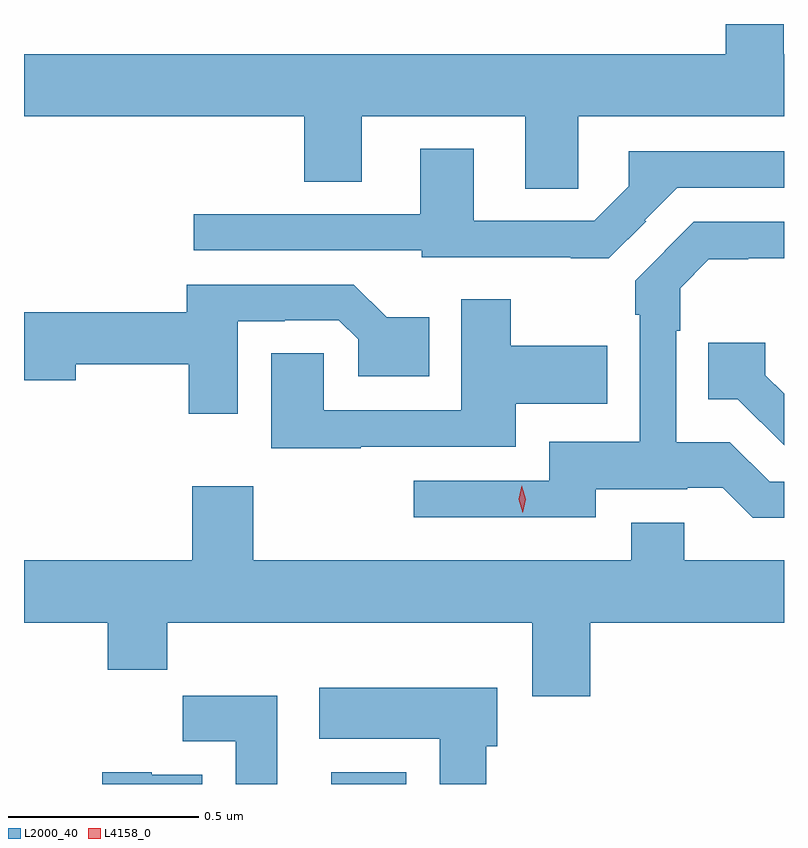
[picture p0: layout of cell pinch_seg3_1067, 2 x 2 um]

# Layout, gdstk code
import gdstk
lib = gdstk.Library(unit=1e-6, precision=1e-09)
def R(c, l, rs):  # rectangles x0, y0, x1, y1
    for r in rs: c.add(gdstk.rectangle(r[:2], r[2:], *l))
def P(c, l, *ps):  # polygons
    for p in ps: c.add(gdstk.Polygon(p, *l))
L2000_40 = (2000, 40)
L4158_0 = (4158, 0)

pinch_seg3_1067 = lib.new_cell('pinch_seg3_1067')
R(pinch_seg3_1067, L2000_40, [(316.247,744.447,316.444,744.478)])
P(pinch_seg3_1067, L2000_40, [(316.896,746.204),(317.438,746.204),(317.438,746.368),(317.437,746.368),(317.437,746.447),(317.285,746.447),(317.285,746.368),(315.438,746.368),(315.438,746.204),(316.175,746.204),(316.175,746.032),(316.327,746.032),(316.327,746.204),(316.757,746.204),(316.757,746.014),(316.896,746.014)],
  [(317.075,745.928),(317.072,745.931),(317.157,746.016),(317.438,746.016),(317.438,746.112),(317.029,746.112),(317.029,746.02),(316.938,745.929),(316.621,745.929),(316.621,746.119),(316.481,746.119),(316.481,745.947),(315.885,745.947),(315.885,745.851),(316.485,745.851),(316.485,745.833),(316.877,745.833),(316.877,745.831),(316.977,745.831)],
  [(317.438,745.242),(317.4,745.242),(317.295,745.347),(317.154,745.347),(317.154,745.64),(317.165,745.64),(317.165,745.752),(317.24,745.828),(317.344,745.828),(317.344,745.83),(317.438,745.83),(317.438,745.926),(317.201,745.926),(317.046,745.771),(317.046,745.682),(317.058,745.682),(317.058,745.348),(316.82,745.348),(316.82,745.245),(316.464,745.245),(316.464,745.149),(316.942,745.149),(316.942,745.223),(317.183,745.223),(317.183,745.227),(317.277,745.227),(317.356,745.148),(317.438,745.148)],
  [(316,745.665),(316.124,745.665),(316.124,745.668),(316.266,745.668),(316.317,745.617),(316.317,745.52),(316.504,745.52),(316.504,745.675),(316.392,745.675),(316.306,745.761),(315.866,745.761),(315.866,745.688),(315.438,745.688),(315.438,745.51),(315.574,745.51),(315.574,745.552),(315.871,745.552),(315.871,745.422),(316,745.422)],
  [(316.324,745.335),(316.732,745.335),(316.732,745.448),(316.973,745.448),(316.973,745.6),(316.719,745.6),(316.719,745.723),(316.589,745.723),(316.589,745.431),(316.227,745.431),(316.227,745.58),(316.088,745.58),(316.088,745.33),(316.324,745.33)],
  [(317.438,745.474),(317.389,745.523),(317.389,745.608),(317.239,745.608),(317.239,745.46),(317.316,745.46),(317.438,745.338)],
  [(315.881,745.231),(315.881,745.036),(315.438,745.036),(315.438,744.872),(315.659,744.872),(315.659,744.748),(315.815,744.748),(315.815,744.872),(316.775,744.872),(316.775,744.678),(316.928,744.678),(316.928,744.872),(317.438,744.872),(317.438,745.036),(317.176,745.036),(317.176,745.135),(317.036,745.135),(317.036,745.036),(316.041,745.036),(316.041,745.231)],
  [(316.654,744.546),(316.684,744.546),(316.684,744.7),(316.215,744.7),(316.215,744.566),(316.532,744.566),(316.532,744.447),(316.654,744.447)],
  [(316.105,744.679),(315.856,744.679),(315.856,744.56),(315.995,744.56),(315.995,744.447),(316.105,744.447)],
  [(315.907,744.472),(315.774,744.472),(315.774,744.478),(315.644,744.478),(315.644,744.447),(315.907,744.447)])
P(pinch_seg3_1067, L4158_0, [(316.751,745.161),(316.751,745.161),(316.74,745.196),(316.748,745.232),(316.748,745.232),(316.748,745.232),(316.759,745.197),(316.751,745.161)])

lib.write_gds('pinch_seg3_1067.gds')
